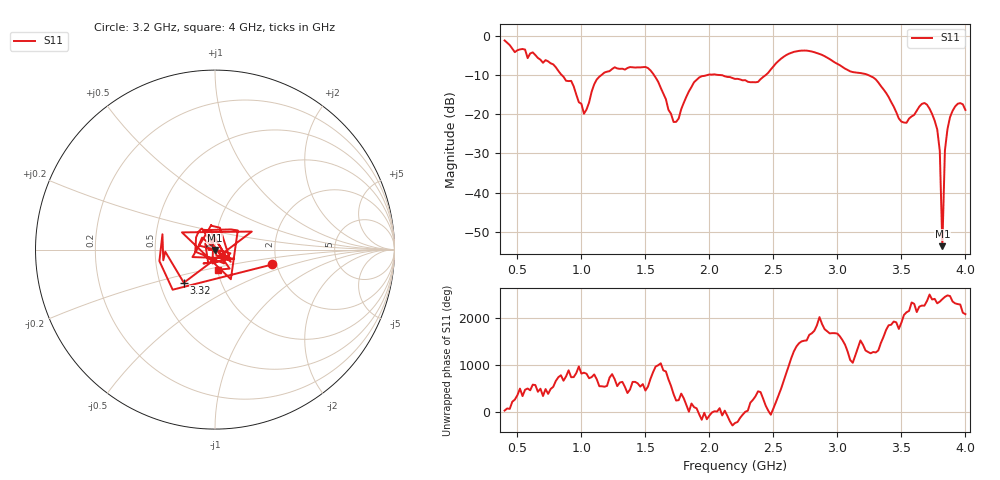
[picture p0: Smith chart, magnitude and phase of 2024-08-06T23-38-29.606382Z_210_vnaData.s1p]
!Created with skrf (http://scikit-rf.org).
# Hz S RI R 50.0
!freq ReS11 ImS11
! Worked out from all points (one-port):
!   181 points, 400 MHz to 4 GHz, reference 50 ohm
!   lowest |S11| = -53.6 dB at 3.82 GHz (marker M1), VSWR 1.00, Z = 49.9 - j0.174 ohm
!   |S11| at or under -10 dB: 1.567 GHz to 1.986 GHz (419.6 MHz wide, 23.6 % of centre); 2.08 GHz to 2.441 GHz (360.6 MHz wide, 16 % of centre); 3.24 GHz to end of sweep (the widest 3 of 4)
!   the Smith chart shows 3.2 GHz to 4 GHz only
!   S11 on the Smith chart (normalised r, x): 3.2 GHz: 1.89, -0.35; 3.32 GHz: 0.66, -0.26; 4 GHz: 1.01, -0.23
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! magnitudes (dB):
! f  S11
! 400 MHz  -1.2
! 860 MHz  -10.5
! 920 MHz  -11.5
! 1.02 GHz  -19.9
! 1.12 GHz  -11.1
! 1.3 GHz  -8.4
! 1.52 GHz  -8.2
! 1.6 GHz  -11.7
! 1.72 GHz  -22.0
! 1.76 GHz  -21.1
! 1.92 GHz  -10.6
! 2.2 GHz  -11.0
! 2.38 GHz  -11.8
! 2.66 GHz  -4.1
! 2.86 GHz  -4.6
! 3.1 GHz  -9.1
! 3.2 GHz  -9.6
! 3.32 GHz  -11.9
! 3.5 GHz  -21.9
! 3.56 GHz  -21.1
! 3.68 GHz  -17.1
! 3.78 GHz  -23.9
! 3.8 GHz  -29.4
! 3.82 GHz  -53.6
! 3.84 GHz  -29.2
! 3.86 GHz  -23.8
! 3.92 GHz  -18.0
! 4 GHz  -18.9
